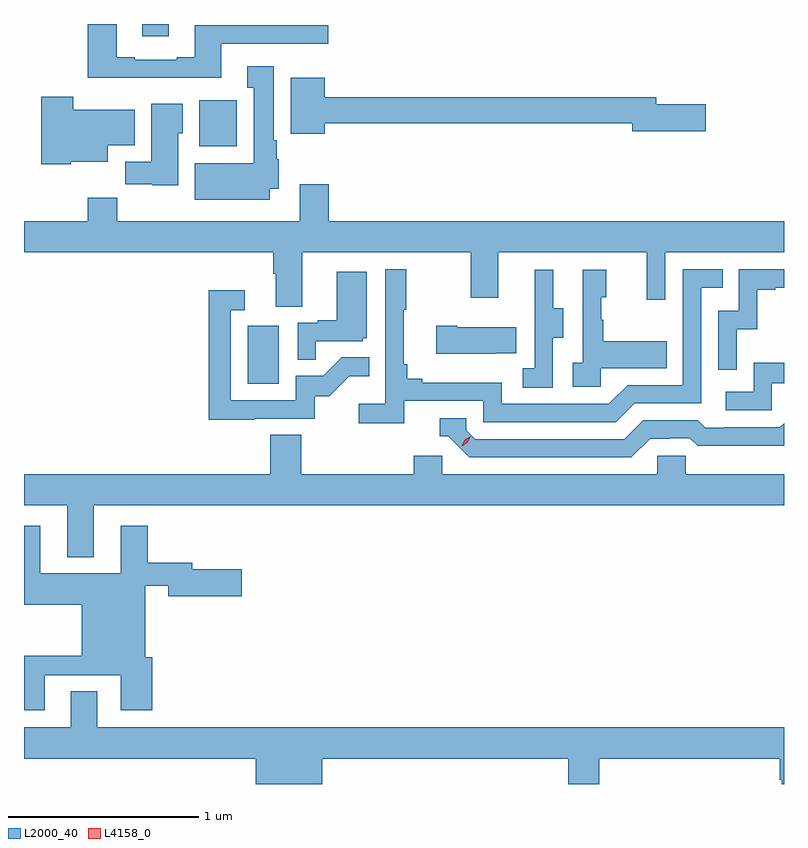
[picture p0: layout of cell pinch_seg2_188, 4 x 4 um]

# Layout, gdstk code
import gdstk
lib = gdstk.Library(unit=1e-6, precision=1e-09)
def R(c, l, rs):  # rectangles x0, y0, x1, y1
    for r in rs: c.add(gdstk.rectangle(r[:2], r[2:], *l))
def P(c, l, *ps):  # polygons
    for p in ps: c.add(gdstk.Polygon(p, *l))
L2000_40 = (2000, 40)
L4158_0 = (4158, 0)

pinch_seg2_188 = lib.new_cell('pinch_seg2_188')
R(pinch_seg2_188, L2000_40, [(995.6,664.26,995.764,664.567), (995.345,665.51,995.542,665.752), (995.045,666.09,995.185,666.154)])
P(pinch_seg2_188, L2000_40, [(995.461,666.051),(996.022,666.051),(996.022,666.148),(995.321,666.148),(995.321,665.98),(995.225,665.98),(995.225,665.967),(995.005,665.967),(995.005,665.98),(994.909,665.98),(994.909,666.154),(994.757,666.154),(994.757,665.87),(995.461,665.87)],
  [(995.716,665.288),(995.764,665.288),(995.764,665.442),(995.752,665.442),(995.752,665.542),(995.737,665.542),(995.737,665.932),(995.597,665.932),(995.597,665.819),(995.63,665.819),(995.63,665.422),(995.321,665.422),(995.321,665.228),(995.716,665.228)],
  [(996.004,665.632),(997.622,665.632),(997.622,665.59),(998.011,665.59),(998.011,665.732),(997.75,665.732),(997.75,665.768),(996.004,665.768),(996.004,665.872),(995.825,665.872),(995.825,665.576),(996.004,665.576)],
  [(994.668,665.429),(994.864,665.429),(994.864,665.516),(995.005,665.516),(995.005,665.704),(994.68,665.704),(994.68,665.77),(994.514,665.77),(994.514,665.417),(994.668,665.417)],
  [(995.233,665.58),(995.257,665.58),(995.257,665.734),(995.093,665.734),(995.093,665.428),(994.954,665.428),(994.954,665.31),(995.097,665.31),(995.097,665.306),(995.233,665.306)],
  [(995.887,664.952),(996.772,664.952),(996.772,664.713),(996.919,664.713),(996.919,664.952),(997.7,664.952),(997.7,664.704),(997.797,664.704),(997.797,664.952),(998.422,664.952),(998.422,665.116),(996.026,665.116),(996.026,665.311),(995.873,665.311),(995.873,665.116),(994.913,665.116),(994.913,665.24),(994.757,665.24),(994.757,665.116),(994.422,665.116),(994.422,664.952),(995.735,664.952),(995.735,664.84),(995.747,664.84),(995.747,664.666),(995.887,664.666)],
  [(996.422,664.17),(996.84,664.17),(996.84,664.059),(997.537,664.059),(997.636,664.158),(997.986,664.158),(997.986,664.767),(998.099,664.767),(998.099,664.863),(997.89,664.863),(997.89,664.254),(997.599,664.254),(997.5,664.155),(996.936,664.155),(996.936,664.267),(996.517,664.267),(996.517,664.286),(996.44,664.286),(996.44,664.363),(996.421,664.363),(996.421,664.651),(996.433,664.651),(996.433,664.864),(996.324,664.864),(996.324,664.156),(996.183,664.156),(996.183,664.054),(996.422,664.054)],
  [(998.172,664.547),(998.282,664.547),(998.282,664.755),(998.377,664.755),(998.377,664.767),(998.422,664.767),(998.422,664.863),(998.184,664.863),(998.184,664.644),(998.076,664.644),(998.076,664.335),(998.172,664.335)],
  [(997.206,664.504),(997.261,664.504),(997.261,664.659),(997.207,664.659),(997.207,664.861),(997.109,664.861),(997.109,664.647),(997.11,664.647),(997.11,664.343),(997.047,664.343),(997.047,664.24),(997.206,664.24)],
  [(997.458,664.343),(997.805,664.343),(997.805,664.483),(997.471,664.483),(997.471,664.598),(997.461,664.598),(997.461,664.716),(997.486,664.716),(997.486,664.861),(997.362,664.861),(997.362,664.37),(997.311,664.37),(997.311,664.245),(997.458,664.245)],
  [(995.957,664.485),(996.204,664.485),(996.204,664.5),(996.226,664.5),(996.226,664.849),(996.068,664.849),(996.068,664.594),(995.969,664.594),(995.969,664.581),(995.862,664.581),(995.862,664.387),(995.957,664.387)],
  [(995.633,664.077),(995.952,664.077),(995.952,664.194),(996.028,664.194),(996.135,664.301),(996.239,664.301),(996.239,664.4),(996.095,664.4),(995.997,664.302),(995.853,664.302),(995.853,664.173),(995.511,664.173),(995.511,664.647),(995.584,664.647),(995.584,664.753),(995.395,664.753),(995.395,664.072),(995.633,664.072)],
  [(996.905,664.421),(997.013,664.421),(997.013,664.558),(996.703,664.558),(996.703,664.566),(996.591,664.566),(996.591,664.418),(996.905,664.418)],
  [(998.358,664.263),(998.422,664.263),(998.422,664.372),(998.262,664.372),(998.262,664.218),(998.115,664.218),(998.115,664.122),(998.358,664.122)],
  [(997.717,663.972),(997.824,663.972),(997.824,663.975),(997.927,663.975),(997.969,663.933),(998.202,663.933),(998.202,663.935),(998.422,663.935),(998.422,664.054),(998.4,664.032),(998.107,664.032),(998.107,664.029),(998.008,664.029),(997.969,664.068),(997.68,664.068),(997.581,663.969),(996.798,663.969),(996.75,664.017),(996.75,664.08),(996.611,664.08),(996.611,663.984),(996.654,663.984),(996.765,663.873),(997.618,663.873)],
  [(994.789,663.62),(998.422,663.62),(998.422,663.784),(997.905,663.784),(997.905,663.882),(997.755,663.882),(997.755,663.784),(996.624,663.784),(996.624,663.882),(996.473,663.882),(996.473,663.784),(995.882,663.784),(995.882,663.992),(995.717,663.992),(995.717,663.784),(994.422,663.784),(994.422,663.62),(994.649,663.62),(994.649,663.347),(994.789,663.347)],
  [(994.531,662.727),(994.931,662.727),(994.931,662.541),(995.096,662.541),(995.096,662.82),(995.059,662.82),(995.059,663.198),(995.18,663.198),(995.18,663.143),(995.569,663.143),(995.569,663.285),(995.308,663.285),(995.308,663.319),(995.072,663.319),(995.072,663.514),(994.931,663.514),(994.931,663.262),(994.507,663.262),(994.507,663.514),(994.422,663.514),(994.422,663.098),(994.727,663.098),(994.727,662.828),(994.422,662.828),(994.422,662.541),(994.531,662.541)],
  [(995.992,662.288),(997.286,662.288),(997.286,662.154),(997.45,662.154),(997.45,662.288),(998.399,662.288),(998.399,662.176),(998.411,662.176),(998.411,662.154),(998.422,662.154),(998.422,662.452),(994.807,662.452),(994.807,662.642),(994.667,662.642),(994.667,662.452),(994.422,662.452),(994.422,662.288),(995.642,662.288),(995.642,662.154),(995.992,662.154)])
P(pinch_seg2_188, L4158_0, [(996.725,663.932),(996.725,663.933),(996.742,663.965),(996.772,663.984),(996.773,663.984),(996.773,663.984),(996.756,663.951),(996.726,663.932)])

lib.write_gds('pinch_seg2_188.gds')
